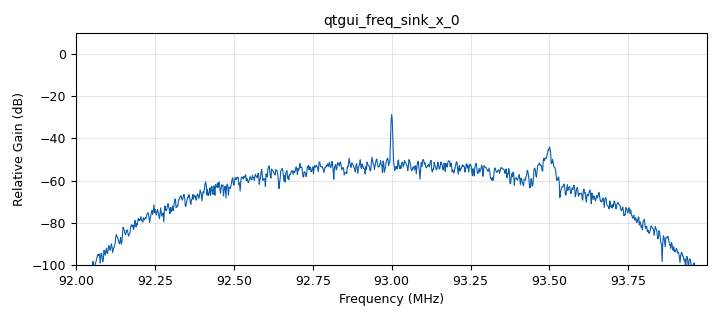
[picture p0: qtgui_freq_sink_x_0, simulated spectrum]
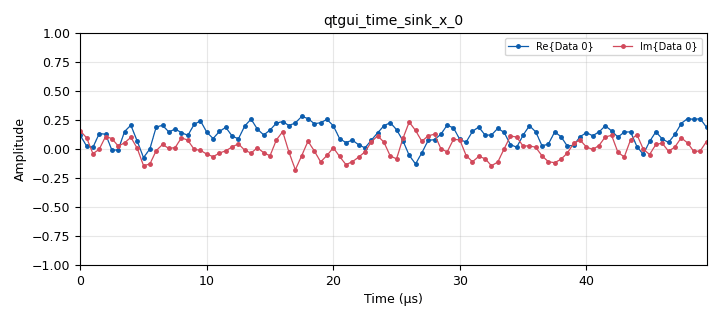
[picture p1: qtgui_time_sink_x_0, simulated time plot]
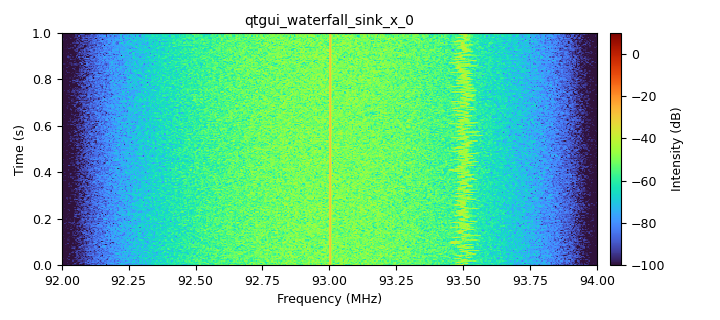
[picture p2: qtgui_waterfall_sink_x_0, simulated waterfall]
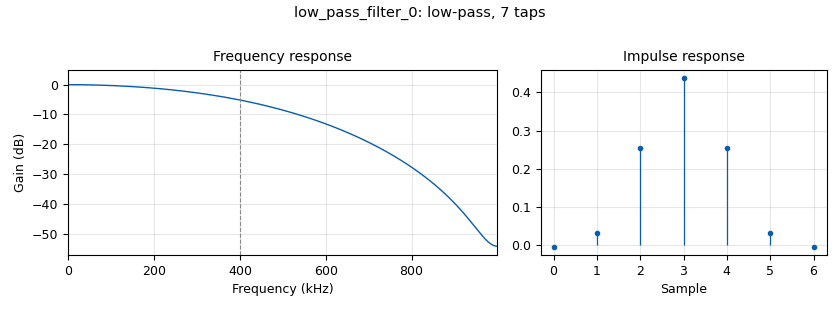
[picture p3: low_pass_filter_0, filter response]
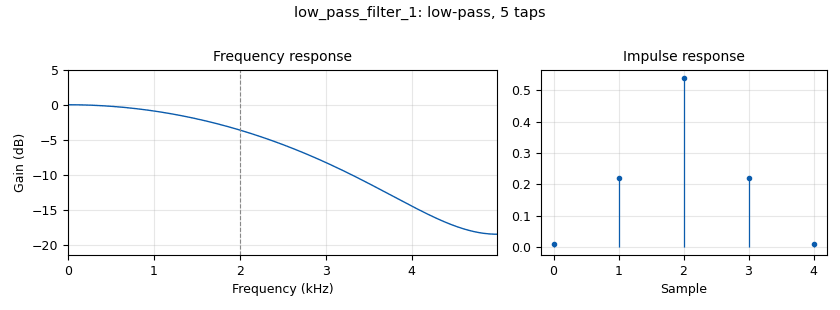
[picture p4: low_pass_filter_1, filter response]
options:
  parameters:
    generate_options: qt_gui
    id: simspecan_gr3_8
    output_language: python
    title: simspecan_gr3_8
  states: {}

blocks:
- name: center_freq
  id: variable
  parameters:
    value: 93e6
  states: {}
- name: samp_rate
  id: variable
  parameters:
    value: 2e6
  states: {}
- name: simulated_activity_freq
  id: variable
  parameters:
    value: 93.5e6
  states: {}
- name: analog_const_source_x_0
  id: analog_const_source_x
  parameters:
    const: '0.1'
    type: complex
  states: {}
- name: analog_noise_source_x_0
  id: analog_noise_source_x
  parameters:
    amp: '0.2'
    noise_type: analog.GR_GAUSSIAN
    seed: '0'
    type: complex
  states: {}
- name: analog_noise_source_x_1
  id: analog_noise_source_x
  parameters:
    amp: '1'
    noise_type: analog.GR_GAUSSIAN
    seed: '0'
    type: float
  states: {}
- name: analog_sig_source_x_1
  id: analog_sig_source_x
  parameters:
    amp: '1'
    freq: simulated_activity_freq - center_freq
    offset: '0'
    phase: '0'
    samp_rate: samp_rate
    type: complex
    waveform: analog.GR_COS_WAVE
  states: {}
- name: analog_wfm_tx_0
  id: analog_wfm_tx
  parameters:
    audio_rate: '2_000_000'
    fh: '-1.0'
    max_dev: 25e3
    quad_rate: int(samp_rate)
    tau: '75e-6'
  states: {}
- name: blocks_add_xx_0
  id: blocks_add_xx
  parameters:
    num_inputs: '3'
    type: complex
  states: {}
- name: blocks_multiply_const_vxx_0
  id: blocks_multiply_const_vxx
  parameters:
    const: '0.15'
    type: complex
  states: {}
- name: blocks_multiply_const_vxx_1
  id: blocks_multiply_const_vxx
  parameters:
    const: abs(center_freq - simulated_activity_freq) < samp_rate/2
    type: complex
  states: {}
- name: blocks_multiply_xx_0
  id: blocks_multiply_xx
  parameters:
    type: complex
  states: {}
- name: blocks_throttle_0
  id: blocks_throttle
  parameters:
    samples_per_second: samp_rate
    type: complex
  states: {}
- name: low_pass_filter_0
  id: low_pass_filter
  parameters:
    cutoff_freq: samp_rate*0.2
    decim: '1'
    gain: '1'
    samp_rate: samp_rate
    type: fir_filter_ccf
    width: samp_rate*0.35
    win: firdes.WIN_HAMMING
  states: {}
- name: low_pass_filter_1
  id: low_pass_filter
  parameters:
    cutoff_freq: 2e3
    decim: '1'
    gain: '1'
    samp_rate: 10e3
    type: fir_filter_fff
    width: 5e3
    win: firdes.WIN_HAMMING
  states: {}
- name: qtgui_freq_sink_x_0
  id: qtgui_freq_sink_x
  parameters:
    average: '0.2'
    bw: samp_rate
    fc: center_freq
    fftsize: '1024'
    freqhalf: 'False'
    gui_hint: (1, 0, 1, 1)
    type: complex
    update_time: '0.05'
    wintype: firdes.WIN_BLACKMAN_hARRIS
    ymin: '-100'
  states: {}
- name: qtgui_time_sink_x_0
  id: qtgui_time_sink_x
  parameters:
    gui_hint: (0, 0, 1, 1)
    marker1: '0'
    marker2: '0'
    size: '100'
    srate: samp_rate
    type: complex
    update_time: '0.05'
  states: {}
- name: qtgui_waterfall_sink_x_0
  id: qtgui_waterfall_sink_x
  parameters:
    bw: samp_rate
    fc: center_freq
    fftsize: '1024'
    freqhalf: 'False'
    gui_hint: (2, 0, 1, 1)
    int_min: '-100'
    type: complex
    update_time: '0.05'
    wintype: firdes.WIN_BLACKMAN_hARRIS
  states: {}
- name: rational_resampler_xxx_0
  id: rational_resampler_xxx
  parameters:
    decim: '1'
    interp: int(samp_rate/10e3)
    taps: ''
    type: fff
  states: {}

connections:
- [analog_const_source_x_0, '0', blocks_add_xx_0, '2']
- [analog_noise_source_x_0, '0', blocks_add_xx_0, '1']
- [analog_noise_source_x_1, '0', low_pass_filter_1, '0']
- [analog_sig_source_x_1, '0', blocks_multiply_xx_0, '0']
- [analog_wfm_tx_0, '0', blocks_multiply_xx_0, '1']
- [blocks_add_xx_0, '0', low_pass_filter_0, '0']
- [blocks_multiply_const_vxx_0, '0', blocks_multiply_const_vxx_1, '0']
- [blocks_multiply_const_vxx_1, '0', blocks_add_xx_0, '0']
- [blocks_multiply_xx_0, '0', blocks_multiply_const_vxx_0, '0']
- [blocks_throttle_0, '0', qtgui_freq_sink_x_0, '0']
- [blocks_throttle_0, '0', qtgui_time_sink_x_0, '0']
- [blocks_throttle_0, '0', qtgui_waterfall_sink_x_0, '0']
- [low_pass_filter_0, '0', blocks_throttle_0, '0']
- [low_pass_filter_1, '0', rational_resampler_xxx_0, '0']
- [rational_resampler_xxx_0, '0', analog_wfm_tx_0, '0']

metadata:
  file_format: 1
